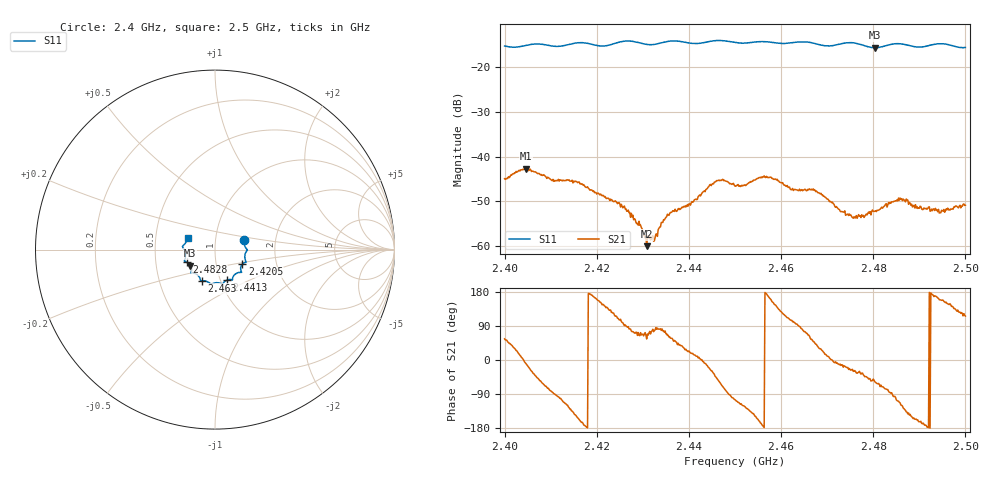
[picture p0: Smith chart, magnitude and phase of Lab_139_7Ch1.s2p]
# Hz S RI R 50
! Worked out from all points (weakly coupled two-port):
!   601 points, 2.4 GHz to 2.5 GHz, reference 50 ohm
!   highest |S21| = -42.70 dB at 2.4047 GHz (marker M1); lowest = -60.0 dB at 2.4308 GHz (marker M2)
!   lowest |S11| = -15.7 dB at 2.4803 GHz (marker M3), VSWR 1.39, Z = 37.4 - j6.83 ohm
!   |S11| at or under -10 dB: start of sweep to end of sweep
!   S12 and S22 are empty: the file has one direction only
!   S11 on the Smith chart (normalised r, x): 2.4 GHz: 1.38, +0.15; 2.4205 GHz: 1.34, -0.22; 2.4413 GHz: 1.08, -0.38; 2.463 GHz: 0.82, -0.29; 2.4828 GHz: 0.72, -0.10; 2.5 GHz: 0.73, +0.10
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2.4e9  0.1631 0.0521  0.00319 0.00468  0 0  0 0
2.404667e9  0.1741 0.00584  0.00721 -0.00132  0 0  0 0
2.416667e9  0.1734 -0.0698  -0.00475 -0.0013  0 0  0 0
2.4205e9  0.1519 -0.0809  -0.00349 0.00157  0 0  0 0
2.426333e9  0.1483 -0.1263  -1.02e-06 0.00262  0 0  0 0
2.430833e9  0.1197 -0.1324  0.000568 0.000827  0 0  0 0
2.432167e9  0.1072 -0.1415  0.000203 0.00129  0 0  0 0
2.433333e9  0.1005 -0.1515  0.000224 0.00152  0 0  0 0
2.435833e9  0.0977 -0.1675  0.00113 0.00204  0 0  0 0
2.441333e9  0.0675 -0.1696  0.00324 0.000751  0 0  0 0
2.446e9  0.042 -0.1925  0.00366 -0.00398  0 0  0 0
2.45e9  0.0247 -0.1859  -0.00119 -0.00454  0 0  0 0
2.4565e9  -0.0231 -0.1903  -0.00589 0.0002  0 0  0 0
2.463e9  -0.0721 -0.1738  -0.000607 0.00428  0 0  0 0
2.466667e9  -0.0817 -0.1673  0.00252 0.00353  0 0  0 0
2.475667e9  -0.1336 -0.1296  0.00178 -0.00103  0 0  0 0
2.480333e9  -0.1373 -0.0889  0.00132 -0.00207  0 0  0 0
2.482833e9  -0.1585 -0.07  0.000677 -0.00292  0 0  0 0
2.483333e9  -0.1624 -0.0682  0.000382 -0.00305  0 0  0 0
2.486e9  -0.1704 -0.0616  -0.00162 -0.00292  0 0  0 0
2.4945e9  -0.1812 0.0169  -0.00222 0.000859  0 0  0 0
2.5e9  -0.1521 0.0639  -0.00125 0.00258  0 0  0 0
